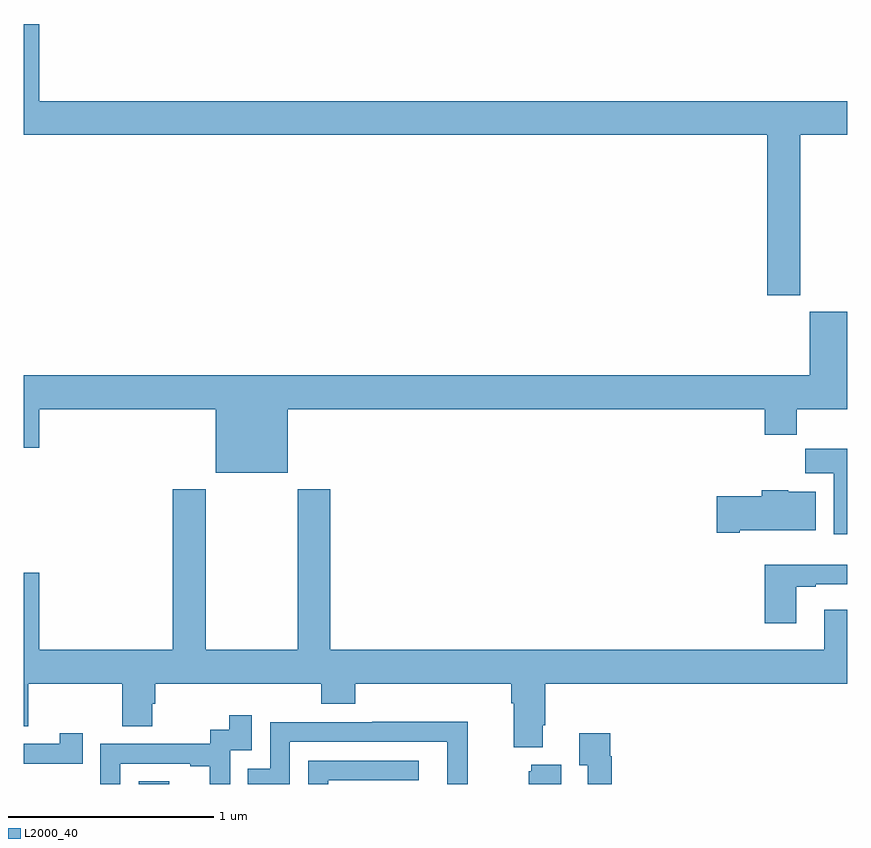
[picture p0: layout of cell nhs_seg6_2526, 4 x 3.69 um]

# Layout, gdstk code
import gdstk
lib = gdstk.Library(unit=1e-6, precision=1e-09)
def R(c, l, rs):  # rectangles x0, y0, x1, y1
    for r in rs: c.add(gdstk.rectangle(r[:2], r[2:], *l))
def P(c, l, *ps):  # polygons
    for p in ps: c.add(gdstk.Polygon(p, *l))
L2000_40 = (2000, 40)

nhs_seg6_2526 = lib.new_cell('nhs_seg6_2526')
R(nhs_seg6_2526, L2000_40, [(261.558,961.5,261.706,961.513)])
P(nhs_seg6_2526, L2000_40, [(264.771,964.652),(265,964.652),(265,964.816),(261.076,964.816),(261.076,965.191),(261,965.191),(261,964.652),(264.611,964.652),(264.611,963.873),(264.771,963.873)],
  [(262.282,963.32),(264.599,963.32),(264.599,963.196),(264.755,963.196),(264.755,963.32),(265,963.32),(265,963.793),(264.818,963.793),(264.818,963.484),(261,963.484),(261,963.132),(261.076,963.132),(261.076,963.32),(261.932,963.32),(261.932,963.011),(262.282,963.011)],
  [(265,963.127),(264.796,963.127),(264.796,963.008),(264.935,963.008),(264.935,962.712),(265,962.712)],
  [(263.521,961.786),(263.534,961.786),(263.534,961.988),(265,961.988),(265,962.347),(264.887,962.347),(264.887,962.152),(262.49,962.152),(262.49,962.932),(262.33,962.932),(262.33,962.152),(261.885,962.152),(261.885,962.932),(261.725,962.932),(261.725,962.152),(261.076,962.152),(261.076,962.527),(261,962.527),(261,961.78),(261.021,961.78),(261.021,961.988),(261.478,961.988),(261.478,961.78),(261.625,961.78),(261.625,961.89),(261.638,961.89),(261.638,961.988),(262.445,961.988),(262.445,961.889),(262.61,961.889),(262.61,961.988),(263.369,961.988),(263.369,961.892),(263.381,961.892),(263.381,961.679),(263.521,961.679)],
  [(264.478,962.732),(264.847,962.732),(264.847,962.92),(264.714,962.92),(264.714,962.926),(264.584,962.926),(264.584,962.898),(264.366,962.898),(264.366,962.72),(264.478,962.72)],
  [(264.751,962.457),(264.847,962.457),(264.847,962.469),(265,962.469),(265,962.566),(264.599,962.566),(264.599,962.28),(264.751,962.28)],
  [(261.468,961.599),(261.809,961.599),(261.809,961.587),(261.904,961.587),(261.904,961.5),(262.002,961.5),(262.002,961.665),(262.107,961.665),(262.107,961.834),(261.999,961.834),(261.999,961.764),(261.906,961.764),(261.906,961.695),(261.372,961.695),(261.372,961.5),(261.468,961.5)],
  [(262.293,961.704),(263.058,961.704),(263.058,961.5),(263.157,961.5),(263.157,961.802),(262.693,961.802),(262.693,961.8),(262.197,961.8),(262.197,961.575),(262.087,961.575),(262.087,961.5),(262.293,961.5)],
  [(261.287,961.747),(261.176,961.747),(261.176,961.695),(261,961.695),(261,961.599),(261.287,961.599)],
  [(263.855,961.634),(263.848,961.634),(263.848,961.747),(263.699,961.747),(263.699,961.591),(263.739,961.591),(263.739,961.5),(263.855,961.5)],
  [(262.479,961.518),(262.918,961.518),(262.918,961.614),(262.383,961.614),(262.383,961.5),(262.479,961.5)],
  [(263.611,961.594),(263.465,961.594),(263.465,961.563),(263.453,961.563),(263.453,961.5),(263.611,961.5)])

lib.write_gds('nhs_seg6_2526.gds')
